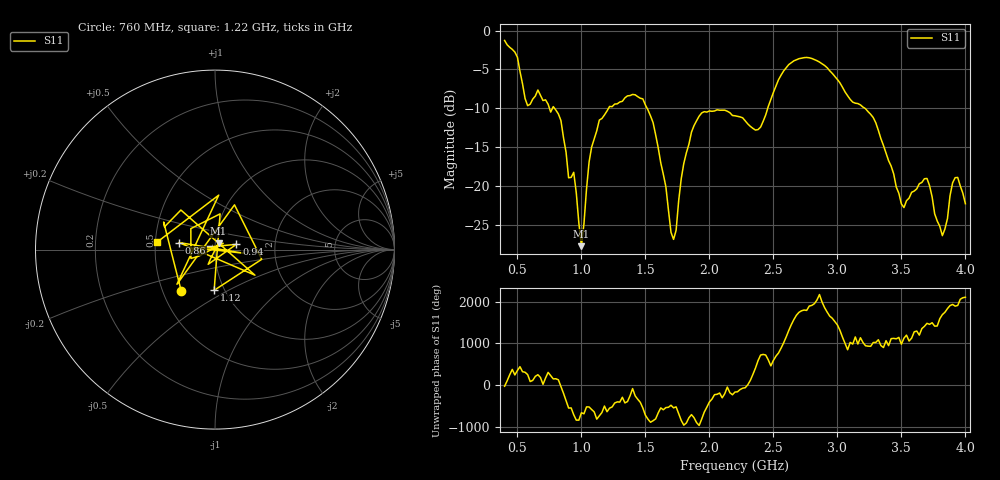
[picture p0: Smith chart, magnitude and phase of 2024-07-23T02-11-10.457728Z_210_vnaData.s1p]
!Created with skrf (http://scikit-rf.org).
# Hz S RI R 50.0
!freq ReS11 ImS11
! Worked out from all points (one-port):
!   181 points, 400 MHz to 4 GHz, reference 50 ohm
!   lowest |S11| = -27.7 dB at 1 GHz (marker M1), VSWR 1.09, Z = 51.9 + j3.74 ohm
!   |S11| at or under -10 dB: 790.4 MHz to 1.212 GHz (421.2 MHz wide, 42.1 % of centre); 1.513 GHz to 2.455 GHz (942 MHz wide, 47.5 % of centre); 3.216 GHz to end of sweep (the widest 3 of 4)
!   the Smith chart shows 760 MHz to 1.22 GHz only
!   S11 on the Smith chart (normalised r, x): 760 MHz: 0.62, -0.32; 860 MHz: 0.66, +0.05; 940 MHz: 1.27, +0.08; 1.12 GHz: 0.89, -0.43; 1.22 GHz: 0.51, +0.05
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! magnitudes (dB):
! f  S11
! 400 MHz  -1.3
! 500 MHz  -3.4
! 580 MHz  -9.7
! 660 MHz  -7.6
! 760 MHz  -10.5
! 860 MHz  -13.8
! 900 MHz  -18.9
! 940 MHz  -18.2
! 1 GHz  -27.7
! 1.06 GHz  -16.9
! 1.12 GHz  -12.9
! 1.22 GHz  -9.8
! 1.3 GHz  -9.2
! 1.54 GHz  -11.0
! 1.72 GHz  -26.9
! 1.76 GHz  -21.9
! 1.92 GHz  -11.0
! 2.2 GHz  -11.0
! 2.38 GHz  -12.7
! 2.66 GHz  -3.9
! 3.1 GHz  -8.8
! 3.28 GHz  -11.2
! 3.5 GHz  -22.3
! 3.56 GHz  -21.5
! 3.7 GHz  -19.0
! 3.82 GHz  -26.4
! 3.92 GHz  -18.9
! 4 GHz  -22.3
